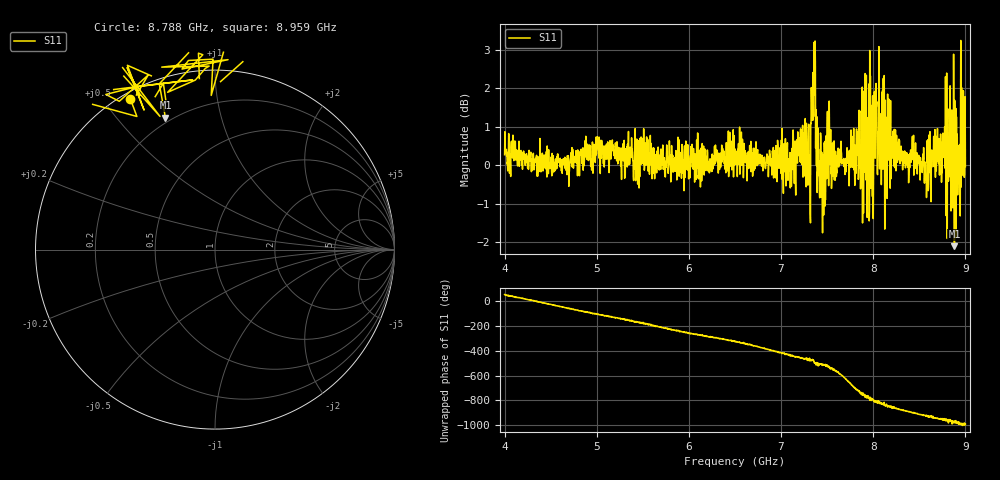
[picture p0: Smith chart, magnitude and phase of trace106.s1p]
! Created with skrf 1.8.0 (http://scikit-rf.org).
# Hz S RI R 50.0
!freq ReS11 ImS11
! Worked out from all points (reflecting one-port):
!   1601 points, 4 GHz to 9 GHz, reference 50 ohm
!   lowest |S11| = -2.1 dB at 8.881 GHz (marker M1), VSWR 8.29, Z = 8.86 + j33.9 ohm
!   phase of S11 starts at 53 deg and turns -1046 deg over the sweep
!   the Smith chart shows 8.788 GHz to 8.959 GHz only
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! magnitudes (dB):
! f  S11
! 4 GHz  0.3
! 4.625 GHz  -0.2
! 5.25 GHz  0.3
! 5.875 GHz  0.3
! 6.5 GHz  0.4
! 7.125 GHz  0.4
! 7.209 GHz  0.8
! 7.294 GHz  0.2
! 7.328 GHz  2.0
! 7.347 GHz  2.4
! 7.381 GHz  0.8
! 7.4 GHz  1.0
! 7.438 GHz  -0.7
! 7.512 GHz  0.4
! 7.566 GHz  -0.3
! 7.75 GHz  0.1
! 7.875 GHz  -0.2
! 7.928 GHz  0.2
! 7.981 GHz  0.6
! 8.097 GHz  1.1
! 8.15 GHz  -0.9
! 8.375 GHz  0.3
! 8.578 GHz  -0.8
! 8.775 GHz  1.0
! 8.881 GHz  -2.1
! 8.919 GHz  -0.4
! 8.972 GHz  0.4
! 9 GHz  0.0
